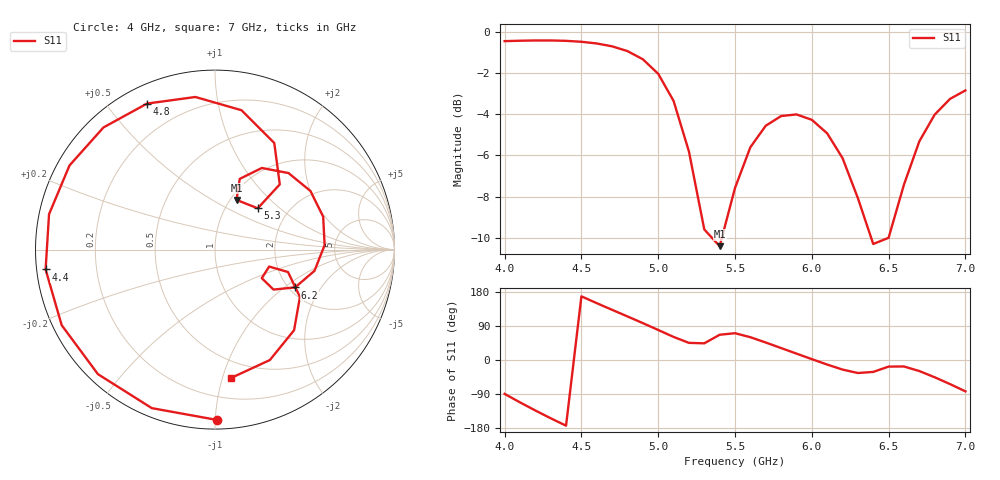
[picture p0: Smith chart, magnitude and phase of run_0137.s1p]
! Touchstone file exported from HFSS 2024.2.0
!  File:  C:/Users/wsak9/Desktop/Sim Fast/Widenad Patch/WP_AI_V1_sweep.aedt
!  Generated:  08:38:00 PM Oct 13, 2026
!  Design:  A1_model
!  Project:  WP_AI_V1_sweep
!  Setup:  Setup1
!  Solution:  Sweep
! Variables:
!  Air_gap = 1.77mm
!  Curve_Amp1 = 1.54
!  Curve_len1 = 1
!  Curve_pos = 10.54mm
!  Extra = 3.45mm
!  H_sub = 0.79mm
!  L_Patch = 17.08mm
!  L_Patch1 = 13.08mm
!  Sx = 0.81mm
!  Sy = 0.27mm
!  WS = 0.87mm
!  W_Patch = 10.36mm
!  W_Patch1 = 9.63mm
!Data is not renormalized
# GHz S MA
! Terminal data exported
! Port[1] = 1
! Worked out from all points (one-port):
!   31 points, 4 GHz to 7 GHz, reference per port
!   lowest |S11| = -10.4 dB at 5.4 GHz (marker M1), VSWR 1.86
!   |S11| at or under -10 dB: 5.35 GHz to 5.415 GHz (64.91 MHz wide, 1.21 % of centre); 6.386 GHz to 6.5 GHz (113.8 MHz wide, 1.77 % of centre)
!   S11 on the Smith chart (normalised r, x): 4 GHz: 0.05, -1.01; 4.4 GHz: 0.03, -0.06; 4.8 GHz: 0.08, +0.64; 5.3 GHz: 1.41, +0.73; 6.2 GHz: 2.16, -1.20; 7 GHz: 0.36, -1.07
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4  0.9487 -89.4
4.1  0.9509 -111.7
4.2  0.9523 -133.2
4.3  0.9524 -153.7
4.4  0.9503 -173.3
4.5  0.9454 168.0
4.6  0.9364 150.0
4.8  0.8973 114.9
4.9  0.8573 97.3
5  0.7904 79.2
5.1  0.6795 60.9
5.2  0.5122 45.2
5.3  0.3313 44.0
5.4  0.3017 66.6
5.5  0.4175 70.7
5.6  0.5243 60.2
5.7  0.5912 46.1
5.9  0.63 16.9
6  0.6113 2.3
6.2  0.4936 -25.3
6.3  0.3946 -34.4
6.4  0.3054 -31.4
6.5  0.3161 -17.4
6.6  0.4255 -17.1
6.7  0.5418 -29.1
6.8  0.6292 -45.6
6.9  0.687 -63.6
7  0.7203 -82.7
